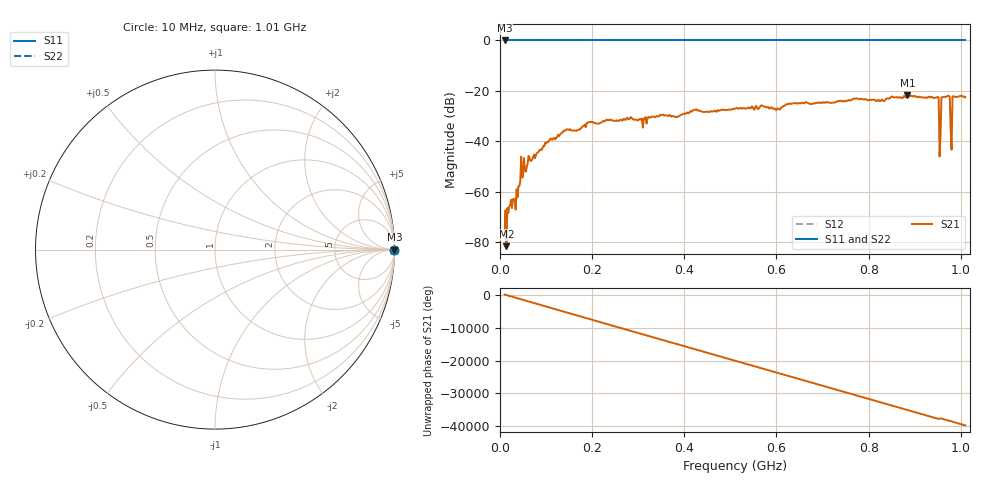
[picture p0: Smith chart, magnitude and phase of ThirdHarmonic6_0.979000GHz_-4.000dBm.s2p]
! 8/16/2025 7:33:09 AM
! C:\ANRITSUVNA\TEMP\TEMP.S2P
! CHANNEL.1
! TR.MEASUREMENT
! RAW.DATA
! RF.CORRECTION.OFF
! AVERAGING.OFF
! IF.BANDWIDTH: 5KHZ
! SWEEPTYPE:  FREQ.SWEEP(Linear)
! Reference Plane Port Info
! PORT:  PORT1  PORT2
! DISTANCE:  0  m  0  m
! TIME:  0  s  0  s
! PHASE.OFFSET:  0  deg.  0  deg.
! LOSS:  0  dB  0  dB
! REF.LOSS:  0  dB  0  dB
! REF.FREQ:  0  Hz  0  Hz
! Power Info
! POWER:  -20  dBm  -20  dBm
! EFF.POWER:  -20  dBm  -20  dBm
! SOURCE.ATTEN:  0  dB  0  dB
! TEST.ATTEN:  0  dB  0  dB
# GHZ S RI R 50.0
! FREQ.GHZ  S11RE  S11IM  S21RE  S21IM  S12RE  S12IM  S22RE  S22IM
!; PortSelection: Port_12
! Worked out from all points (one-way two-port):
!   501 points, 10 MHz to 1.01 GHz, reference 50 ohm
!   highest |S21| = -21.78 dB at 884 MHz (marker M1); lowest = -81.5 dB at 14 MHz (marker M2)
!   lowest |S11| = 0.0 dB at 10 MHz (marker M3)
!   |S11| at or under -10 dB: nowhere
!   |S22| runs from 0.0 to 0.0 dB; largest |S21 - S12| = 1.1
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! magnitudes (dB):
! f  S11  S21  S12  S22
! 10 MHz  0.0  -77.5  0.0  0.0
! 14 MHz  0.0  -81.5  0.0  0.0
! 20 MHz  0.0  -65.8  0.0  0.0
! 38 MHz  0.0  -62.2  0.0  0.0
! 50 MHz  0.0  -54.0  0.0  0.0
! 106 MHz  0.0  -39.8  0.0  0.0
! 178 MHz  0.0  -34.3  0.0  0.0
! 344 MHz  0.0  -30.1  0.0  0.0
! 510 MHz  0.0  -27.0  0.0  0.0
! 678 MHz  0.0  -25.1  0.0  0.0
! 844 MHz  0.0  -23.0  0.0  0.0
! 884 MHz  0.0  -21.8  0.0  0.0
! 948 MHz  0.0  -22.5  0.0  0.0
! 952 MHz  0.0  -22.7  0.0  0.0
! 956 MHz  0.0  -37.9  0.0  0.0
! 958 MHz  0.0  -22.5  0.0  0.0
! 962 MHz  0.0  -22.4  0.0  0.0
! 972 MHz  0.0  -21.9  0.0  0.0
! 976 MHz  0.0  -22.4  0.0  0.0
! 980 MHz  0.0  -43.3  0.0  0.0
! 986 MHz  0.0  -22.2  0.0  0.0
! 1.01 GHz  0.0  -22.5  0.0  0.0
